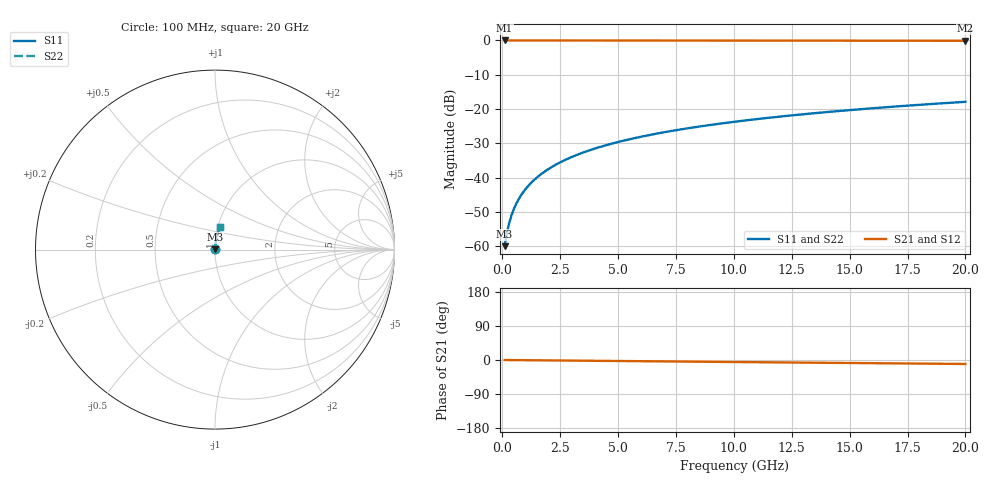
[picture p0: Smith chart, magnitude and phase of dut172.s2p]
! Touchstone file exported from HFSS 2026.1.0
!  File:  C:/ffzhzh/LocalFiles/Ansys_Project_Files/temp_train_TMRDL_172_1782983495_41620.aedt
!  Generated:  05:12:42 PM Jul  2, 2026
!  Design:  TMRDL
!  Project:  temp_train_TMRDL_172_1782983495_41620
! Variables:
!  h_bsmrdl = 2um
!  h_ox = 20um
!  h_rdl = 5um
!  h_sub = 80um
!  h_tmrdl = 5.15um
!  h_tsv = 80um
!  h_via = 3um
!  l_bsmrdl = 300um
!  l_sub = 505.84um
!  l_tmrdl = 105.84um
!  m_sub = 200um
!  pitch = 43.6um
!  r_tsv = 6um
!  s_tmrdl = 10um
!  w_bsmrdl = 18um
!  w_sub = 500um
!  w_tmrdl = 11.87um
!  x_tsv_center1 = 111.775um
!  x_tsv_center2 = 429.775um
!  x_tsv_center3 = 547.485um
!  x_tsv_center4 = 865.485um
!  x_tsv_center5 = 983.195um
!  x_tsv_center6 = 1301.195um
# GHz S MA R 50.000000
! Terminal data exported
! Port[1] = TM_RDL1_1_T1
! Port[2] = TM_RDL1_1_T2
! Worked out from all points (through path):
!   200 points, 100 MHz to 20 GHz, reference 50 ohm
!   highest |S21| = -0.01 dB at 100 MHz (marker M1); lowest = -0.1 dB at 20 GHz (marker M2)
!   group delay of S21, straight-line fit = 1.45 ps
!   lowest |S11| = -60.0 dB at 100 MHz (marker M3), VSWR 1.00, Z = 50.1 + j0.0695 ohm
!   |S11| at or under -10 dB: start of sweep to end of sweep
!   |S22| runs from -60.0 to -17.9 dB; largest |S21 - S12| = 6.4e-15
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0.1  0.001004 43.7  0.9993 -0.1  0.9993 -0.1  0.001004 43.7
! Gamma 0 0 0 0
! Port Impedance 50 0 50 0
0.2  0.001568 61.7  0.9993 -0.1  0.9993 -0.1  0.001568 61.7
0.3  0.002197 69.6  0.9992 -0.2  0.9992 -0.2  0.002197 69.6
0.4  0.002843 73.9  0.9992 -0.2  0.9992 -0.2  0.002843 73.9
0.5  0.003495 76.6  0.9992 -0.3  0.9992 -0.3  0.003495 76.6
0.6  0.004149 78.5  0.9992 -0.3  0.9992 -0.3  0.004149 78.5
0.8  0.005464 80.8  0.9992 -0.4  0.9992 -0.4  0.005464 80.8
1.1  0.007445 82.8  0.9991 -0.6  0.9991 -0.6  0.007445 82.8
1.5  0.01009 84.1  0.999 -0.8  0.999 -0.8  0.01009 84.1
1.8  0.01208 84.6  0.999 -1.0  0.999 -1.0  0.01208 84.6
2.1  0.01407 84.9  0.9989 -1.1  0.9989 -1.1  0.01407 84.9
2.7  0.01803 85.2  0.9988 -1.5  0.9988 -1.5  0.01803 85.2
3.5  0.0233 85.2  0.9985 -1.9  0.9985 -1.9  0.0233 85.2
4.2  0.02788 85.1  0.9983 -2.3  0.9983 -2.3  0.02788 85.1
5  0.03309 84.8  0.998 -2.7  0.998 -2.7  0.03309 84.8
5.9  0.03891 84.5  0.9976 -3.2  0.9976 -3.2  0.03891 84.5
6.8  0.0447 84.1  0.9972 -3.6  0.9972 -3.6  0.0447 84.1
8.3  0.05429 83.5  0.9965 -4.4  0.9965 -4.4  0.05429 83.5
10.1  0.06573 82.7  0.9956 -5.4  0.9956 -5.4  0.06573 82.7
13.4  0.08652 81.2  0.9937 -7.1  0.9937 -7.1  0.08652 81.2
16.7  0.1071 79.7  0.9913 -8.8  0.9913 -8.8  0.1071 79.7
20  0.1275 78.1  0.9887 -10.5  0.9887 -10.5  0.1275 78.1
